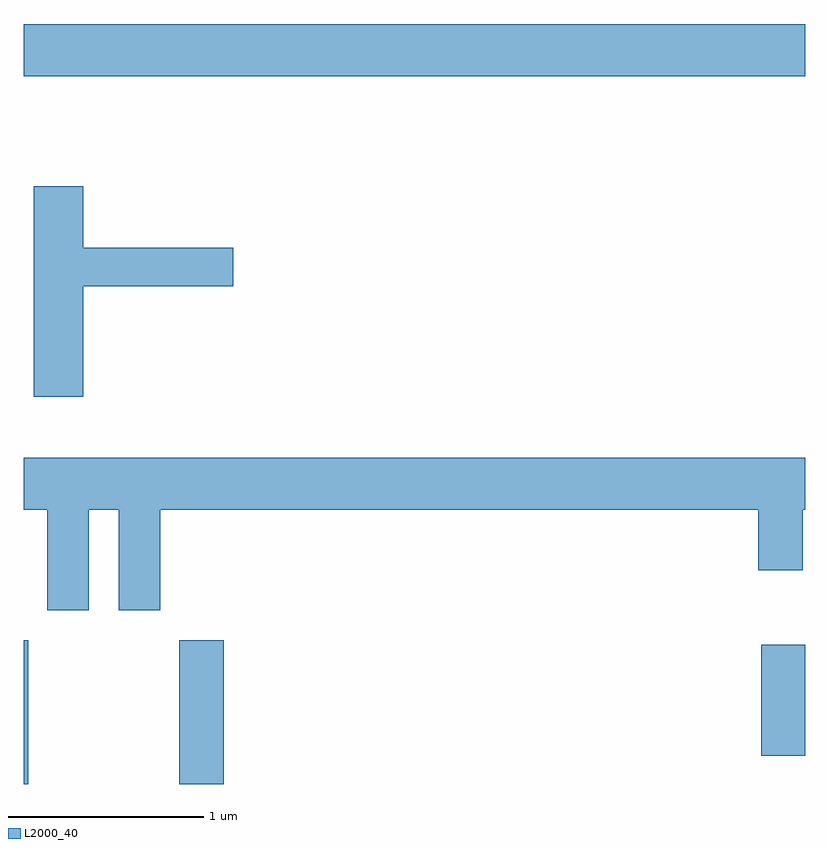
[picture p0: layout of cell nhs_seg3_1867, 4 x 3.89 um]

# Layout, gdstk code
import gdstk
lib = gdstk.Library(unit=1e-6, precision=1e-09)
def R(c, l, rs):  # rectangles x0, y0, x1, y1
    for r in rs: c.add(gdstk.rectangle(r[:2], r[2:], *l))
def P(c, l, *ps):  # polygons
    for p in ps: c.add(gdstk.Polygon(p, *l))
L2000_40 = (2000, 40)

nhs_seg3_1867 = lib.new_cell('nhs_seg3_1867')
R(nhs_seg3_1867, L2000_40, [(239.611,1177.892,239.634,1178.629), (240.406,1177.892,240.634,1178.629), (243.386,1178.036,243.611,1178.604), (239.611,1181.516,243.611,1181.784)])
P(nhs_seg3_1867, L2000_40, [(239.914,1180.441),(240.684,1180.441),(240.684,1180.639),(239.914,1180.639),(239.914,1180.954),(239.661,1180.954),(239.661,1179.876),(239.914,1179.876)],
  [(239.611,1179.296),(239.731,1179.296),(239.731,1178.781),(239.944,1178.781),(239.944,1179.296),(240.096,1179.296),(240.096,1178.781),(240.309,1178.781),(240.309,1179.296),(243.371,1179.296),(243.371,1178.986),(243.599,1178.986),(243.599,1179.296),(243.611,1179.296),(243.611,1179.564),(239.611,1179.564)])

lib.write_gds('nhs_seg3_1867.gds')
